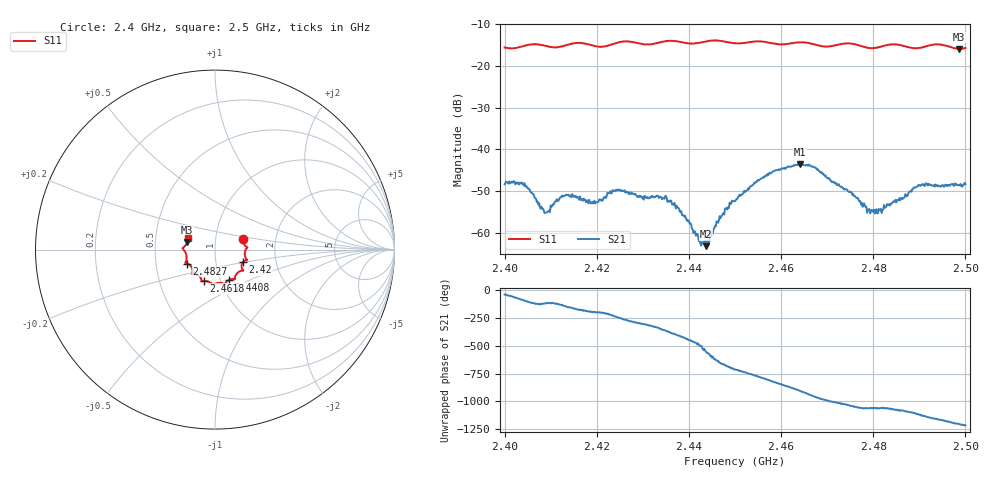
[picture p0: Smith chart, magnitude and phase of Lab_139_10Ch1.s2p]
# Hz S RI R 50
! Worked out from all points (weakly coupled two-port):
!   601 points, 2.4 GHz to 2.5 GHz, reference 50 ohm
!   highest |S21| = -43.51 dB at 2.4642 GHz (marker M1); lowest = -63.2 dB at 2.4437 GHz (marker M2)
!   lowest |S11| = -15.9 dB at 2.4987 GHz (marker M3), VSWR 1.38, Z = 36.5 + j3.24 ohm
!   |S11| at or under -10 dB: start of sweep to end of sweep
!   S12 and S22 are empty: the file has one direction only
!   S11 on the Smith chart (normalised r, x): 2.4 GHz: 1.35, +0.17; 2.42 GHz: 1.36, -0.19; 2.4408 GHz: 1.10, -0.38; 2.4618 GHz: 0.83, -0.30; 2.4827 GHz: 0.72, -0.12; 2.5 GHz: 0.73, +0.09
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2.4e9  0.1545 0.0613  0.00297 -0.00241  0 0  0 0
2.404333e9  0.1739 0.0163  -0.000281 -0.00392  0 0  0 0
2.409e9  0.1732 0.00331  -0.000844 -0.00154  0 0  0 0
2.412833e9  0.1689 -0.0408  -0.00209 -0.00181  0 0  0 0
2.416667e9  0.1788 -0.0585  -0.00254 -8.44e-05  0 0  0 0
2.42e9  0.1564 -0.0689  -0.00221 0.00076  0 0  0 0
2.424667e9  0.1548 -0.1124  -0.00134 0.00303  0 0  0 0
2.433333e9  0.1116 -0.153  0.00258 0.00106  0 0  0 0
2.437333e9  0.1081 -0.1651  0.00157 -0.00143  0 0  0 0
2.440833e9  0.0774 -0.1686  -0.000259 -0.00107  0 0  0 0
2.443667e9  0.0569 -0.188  -0.000682 0.000135  0 0  0 0
2.45e9  0.027 -0.1849  0.00238 0.000341  0 0  0 0
2.457e9  -0.0176 -0.1912  0.000459 -0.00505  0 0  0 0
2.461833e9  -0.0614 -0.1748  -0.00544 -0.00292  0 0  0 0
2.464167e9  -0.0738 -0.1774  -0.00663 0.000791  0 0  0 0
2.466667e9  -0.0757 -0.1682  -0.00415 0.00461  0 0  0 0
2.479167e9  -0.1292 -0.1007  0.00183 0.000637  0 0  0 0
2.482667e9  -0.1581 -0.0778  0.00188 0.000702  0 0  0 0
2.483333e9  -0.162 -0.0768  0.00209 0.000505  0 0  0 0
2.490167e9  -0.1634 -0.0188  0.00279 -0.00237  0 0  0 0
2.498667e9  -0.154 0.0432  -0.00209 -0.00315  0 0  0 0
2.5e9  -0.151 0.0631  -0.00281 -0.00263  0 0  0 0
